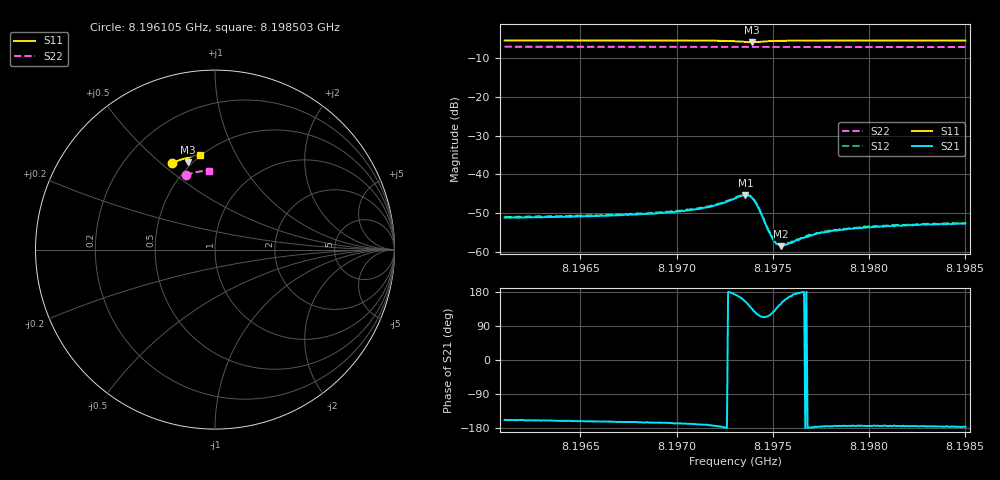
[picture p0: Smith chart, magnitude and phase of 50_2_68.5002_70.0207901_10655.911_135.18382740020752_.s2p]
#  HZ  S  RI  R  50.00
! Rohde & Schwarz Vector Network Analyzer
! Rohde-Schwarz,ZNB20-2Port,1311601062101988,3.16
! Created: UTC 3/20/2024, 4:50:48 PM
! freq[Hz]  re:S11  im:S11  re:S21  im:S21  re:S12  im:S12  re:S22  im:S22
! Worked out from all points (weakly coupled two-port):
!   401 points, 8.196105 GHz to 8.198503 GHz, reference 50 ohm
!   highest |S21| = -45.26 dB at 8.197358 GHz (marker M1); lowest = -58.5 dB at 8.197544 GHz (marker M2)
!   lowest |S11| = -5.9 dB at 8.197394 GHz (marker M3), VSWR 3.08, Z = 23.7 + j31.3 ohm
!   |S11| at or under -10 dB: nowhere
!   |S22| runs from -7.1 to -7.0 dB; largest |S21 - S12| = 0.00029
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8.1961051e9  -0.24 0.4806  -0.00258 -0.00104  -0.00268 -0.000919  -0.1632 0.4148
8.1965067e9  -0.2134 0.4924  -0.00272 -0.000906  -0.00283 -0.00084  -0.1418 0.4218
8.1969084e9  -0.1853 0.5029  -0.00307 -0.000784  -0.00316 -0.000647  -0.1201 0.4279
8.1970283e9  -0.1761 0.5055  -0.0033 -0.000721  -0.0034 -0.000623  -0.1136 0.4295
8.1971662e9  -0.1639 0.5076  -0.00378 -0.000531  -0.00386 -0.000391  -0.1058 0.431
8.1972381e9  -0.1562 0.5077  -0.00423 -0.000232  -0.00431 -7.94e-05  -0.1019 0.4318
8.1973041e9  -0.1474 0.5043  -0.0049 0.000593  -0.00495 0.000811  -0.0981 0.4326
8.1973581e9  -0.1435 0.4945  -0.00491 0.00238  -0.00489 0.0026  -0.0951 0.4328
8.197376e9  -0.1455 0.4902  -0.00432 0.00308  -0.00428 0.00331  -0.0944 0.4329
8.197394e9  -0.1498 0.4874  -0.00346 0.00354  -0.00335 0.00376  -0.0936 0.4332
8.197424e9  -0.1577 0.4892  -0.00187 0.00331  -0.00176 0.00342  -0.092 0.4335
8.197472e9  -0.1609 0.499  -0.000856 0.00185  -0.00079 0.00192  -0.0895 0.4342
8.1975019e9  -0.1592 0.5039  -0.000865 0.00116  -0.000831 0.00125  -0.0876 0.4346
8.1975199e9  -0.1576 0.506  -0.000912 0.000872  -0.000916 0.000961  -0.0869 0.4348
8.1975439e9  -0.1554 0.5082  -0.00101 0.000624  -0.00105 0.00065  -0.0855 0.435
8.1975679e9  -0.1531 0.51  -0.00115 0.00042  -0.00117 0.000476  -0.0842 0.4352
8.1976518e9  -0.1454 0.5142  -0.00151 3.45e-05  -0.00152 7.77e-05  -0.0794 0.4361
8.1977058e9  -0.1408 0.5159  -0.00165 -6.71e-05  -0.00169 -3.55e-06  -0.0765 0.4365
8.1978317e9  -0.1308 0.519  -0.00188 -0.000198  -0.00192 -0.000136  -0.0693 0.4376
8.1979696e9  -0.1205 0.5215  -0.00205 -0.000228  -0.00207 -0.000135  -0.0616 0.4384
8.1981074e9  -0.1102 0.5238  -0.00213 -0.00022  -0.00221 -0.000148  -0.0538 0.4393
8.1985031e9  -0.0819 0.5287  -0.00234 -0.000146  -0.00237 -8.36e-05  -0.0315 0.4407
